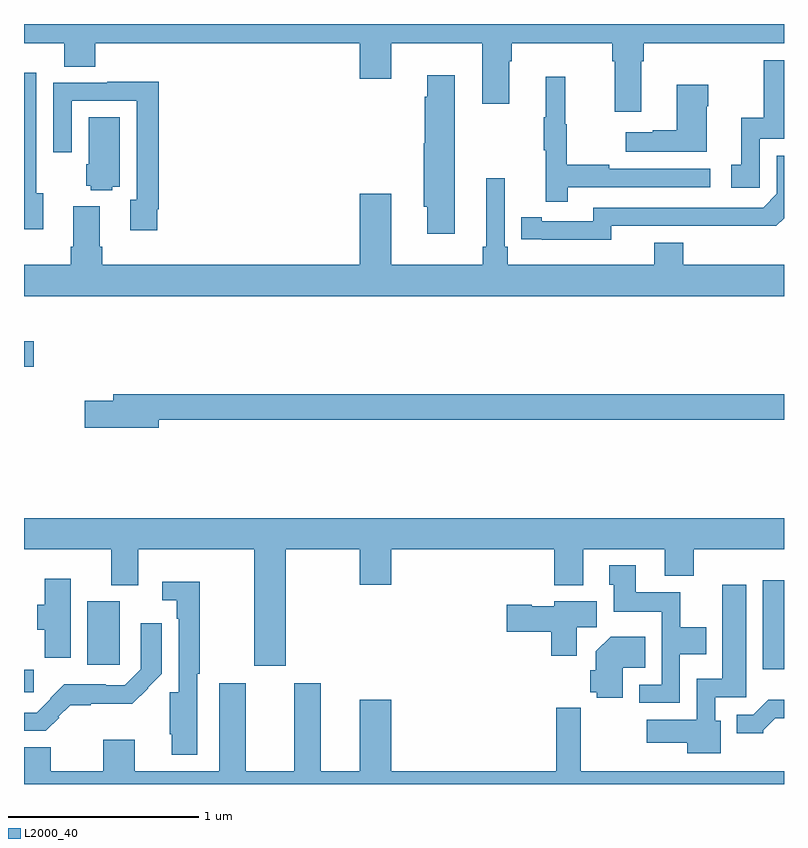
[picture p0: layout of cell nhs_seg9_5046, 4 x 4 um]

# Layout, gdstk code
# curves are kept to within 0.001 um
import gdstk
lib = gdstk.Library(unit=1e-6, precision=1e-09)
def R(c, l, rs):  # rectangles x0, y0, x1, y1
    for r in rs: c.add(gdstk.rectangle(r[:2], r[2:], *l))
def P(c, l, *ps):  # polygons
    for p in ps: c.add(gdstk.Polygon(p, *l))
L2000_40 = (2000, 40)

nhs_seg9_5046 = lib.new_cell('nhs_seg9_5046')
R(nhs_seg9_5046, L2000_40, [(403,1212.982,403.051,1213.102), (406.889,1213.104,407,1213.573), (403.334,1213.128,403.504,1213.462), (403,1214.696,403.051,1214.83)])
P(nhs_seg9_5046, L2000_40, [(406.249,1216.304),(406.262,1216.304),(406.262,1216.4),(407,1216.4),(407,1216.5),(403,1216.5),(403,1216.4),(403.211,1216.4),(403.211,1216.276),(403.376,1216.276),(403.376,1216.4),(404.768,1216.4),(404.768,1216.212),(404.932,1216.212),(404.932,1216.4),(405.413,1216.4),(405.413,1216.08),(405.553,1216.08),(405.553,1216.304),(405.566,1216.304),(405.566,1216.4),(406.097,1216.4),(406.097,1216.304),(406.109,1216.304),(406.109,1216.038),(406.249,1216.038)],
  [(406.872,1215.897),(407,1215.897),(407,1216.308),(406.893,1216.308),(406.893,1216.006),(406.775,1216.006),(406.775,1215.759),(406.722,1215.759),(406.722,1215.639),(406.872,1215.639)],
  [(403.102,1215.61),(403.065,1215.61),(403.065,1216.243),(403,1216.243),(403,1215.419),(403.102,1215.419)],
  [(405.268,1216.231),(405.122,1216.231),(405.122,1216.118),(405.11,1216.118),(405.11,1215.873),(405.104,1215.873),(405.104,1215.537),(405.122,1215.537),(405.122,1215.396),(405.268,1215.396)],
  [(405.863,1215.642),(406.612,1215.642),(406.612,1215.738),(406.079,1215.738),(406.079,1215.758),(405.856,1215.758),(405.856,1215.972),(405.848,1215.972),(405.848,1216.222),(405.746,1216.222),(405.746,1216.009),(405.735,1216.009),(405.735,1215.835),(405.746,1215.835),(405.746,1215.564),(405.863,1215.564)],
  [(403.702,1215.526),(403.709,1215.526),(403.709,1216.195),(403.439,1216.195),(403.439,1216.191),(403.155,1216.191),(403.155,1215.825),(403.251,1215.825),(403.251,1216.095),(403.593,1216.095),(403.593,1215.575),(403.559,1215.575),(403.559,1215.414),(403.702,1215.414)],
  [(406.594,1216.067),(406.602,1216.067),(406.602,1216.18),(406.436,1216.18),(406.436,1215.941),(406.31,1215.941),(406.31,1215.931),(406.167,1215.931),(406.167,1215.827),(406.594,1215.827)],
  [(403.464,1215.644),(403.504,1215.644),(403.504,1216.01),(403.34,1216.01),(403.34,1215.762),(403.328,1215.762),(403.328,1215.648),(403.35,1215.648),(403.35,1215.626),(403.464,1215.626)],
  [(406.092,1215.438),(406.96,1215.437),(407,1215.477),(407,1215.807),(406.962,1215.807),(406.962,1215.606),(406.89,1215.534),(405.996,1215.534),(405.996,1215.462),(405.724,1215.462),(405.724,1215.482),(405.616,1215.482),(405.616,1215.366),(406.092,1215.365)],
  [(407,1215.232),(406.469,1215.232),(406.469,1215.349),(406.316,1215.349),(406.316,1215.232),(405.545,1215.232),(405.545,1215.328),(405.531,1215.328),(405.531,1215.688),(405.434,1215.688),(405.434,1215.328),(405.415,1215.328),(405.415,1215.232),(404.932,1215.232),(404.932,1215.607),(404.768,1215.607),(404.768,1215.232),(403.412,1215.232),(403.412,1215.328),(403.399,1215.328),(403.399,1215.541),(403.259,1215.541),(403.259,1215.328),(403.247,1215.328),(403.247,1215.232),(403,1215.232),(403,1215.068),(407,1215.068)],
  [(403.708,1214.416),(407,1214.416),(407,1214.552),(403.469,1214.552),(403.469,1214.516),(403.32,1214.516),(403.32,1214.374),(403.708,1214.374)],
  [(404.377,1213.736),(404.768,1213.736),(404.768,1213.548),(404.932,1213.548),(404.932,1213.736),(405.791,1213.736),(405.791,1213.547),(405.943,1213.547),(405.943,1213.736),(406.373,1213.736),(406.373,1213.595),(406.526,1213.595),(406.526,1213.736),(407,1213.736),(407,1213.9),(403,1213.9),(403,1213.736),(403.46,1213.736),(403.46,1213.547),(403.6,1213.547),(403.6,1213.736),(404.213,1213.736),(404.213,1213.122),(404.377,1213.122)],
  [(406.452,1213.184),(406.591,1213.184),(406.591,1213.324),(406.455,1213.324),(406.455,1213.51),(406.219,1213.51),(406.219,1213.651),(406.079,1213.651),(406.079,1213.548),(406.103,1213.548),(406.103,1213.406),(406.356,1213.406),(406.356,1213.023),(406.239,1213.023),(406.239,1212.927),(406.452,1212.927)],
  [(403.246,1213.579),(403.109,1213.579),(403.109,1213.443),(403.07,1213.443),(403.07,1213.313),(403.109,1213.313),(403.109,1213.164),(403.246,1213.164)],
  [(403.912,1213.081),(403.924,1213.081),(403.924,1213.564),(403.728,1213.564),(403.728,1213.467),(403.803,1213.467),(403.803,1213.37),(403.815,1213.37),(403.815,1212.984),(403.766,1212.984),(403.766,1212.763),(403.778,1212.763),(403.778,1212.653),(403.912,1212.653)],
  [(406.666,1212.834),(406.638,1212.834),(406.638,1212.957),(406.801,1212.957),(406.801,1213.549),(406.676,1213.549),(406.676,1213.054),(406.542,1213.054),(406.542,1212.838),(406.278,1212.838),(406.278,1212.716),(406.49,1212.716),(406.49,1212.662),(406.666,1212.662)],
  [(405.91,1213.324),(406.015,1213.324),(406.015,1213.462),(405.792,1213.462),(405.792,1213.435),(405.672,1213.435),(405.672,1213.443),(405.54,1213.443),(405.54,1213.301),(405.776,1213.301),(405.776,1213.176),(405.91,1213.176)],
  [(403.185,1212.849),(403.181,1212.853),(403.243,1212.915),(403.351,1212.915),(403.351,1212.923),(403.571,1212.923),(403.726,1213.08),(403.726,1213.345),(403.614,1213.345),(403.614,1213.104),(403.53,1213.02),(403.43,1213.02),(403.43,1213.025),(403.211,1213.025),(403.137,1212.951),(403.14,1212.948),(403.068,1212.876),(403,1212.876),(403,1212.779),(403.115,1212.779)],
  [(406.15,1213.112),(406.271,1213.112),(406.271,1213.276),(406.088,1213.276),(406.01,1213.198),(406.01,1213.098),(405.98,1213.098),(405.98,1212.984),(406.014,1212.984),(406.014,1212.955),(406.15,1212.955)],
  [(407,1212.568),(405.931,1212.568),(405.931,1212.901),(405.802,1212.901),(405.802,1212.568),(404.932,1212.568),(404.932,1212.943),(404.768,1212.943),(404.768,1212.568),(404.563,1212.568),(404.563,1213.03),(404.423,1213.03),(404.423,1212.568),(404.167,1212.568),(404.167,1213.03),(404.027,1213.03),(404.027,1212.568),(403.582,1212.568),(403.582,1212.733),(403.418,1212.733),(403.418,1212.568),(403.141,1212.568),(403.141,1212.694),(403,1212.694),(403,1212.5),(407,1212.5)],
  [(406.89,1212.782),(406.954,1212.846),(407,1212.846),(407,1212.943),(406.918,1212.943),(406.839,1212.864),(406.751,1212.864),(406.751,1212.767),(406.89,1212.767)])

lib.write_gds('nhs_seg9_5046.gds')
